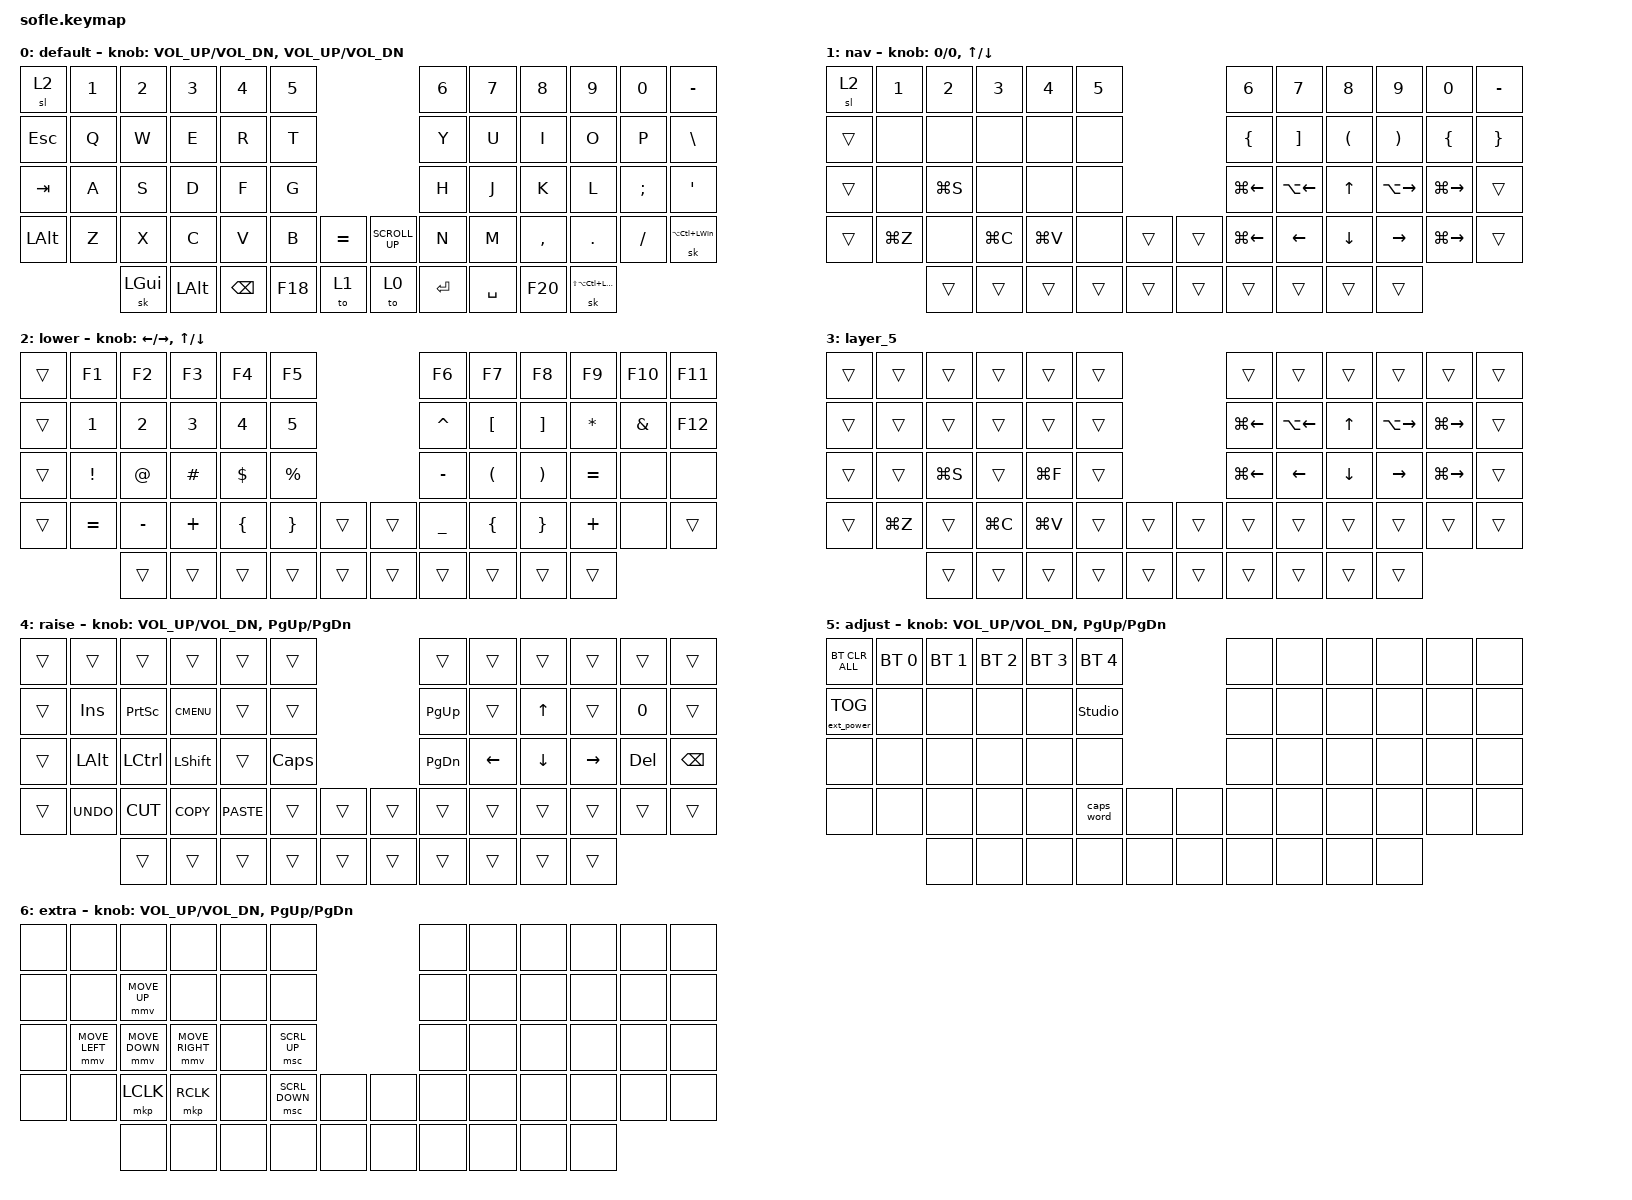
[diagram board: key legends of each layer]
/*
 * Copyright (c) 2020 The ZMK Contributors
 *
 * SPDX-License-Identifier: MIT
 */

#include <behaviors.dtsi>
#include <dt-bindings/zmk/bt.h>
#include <dt-bindings/zmk/ext_power.h>
#include <dt-bindings/zmk/keys.h>
#include <dt-bindings/zmk/pointing.h>

// Encoders

&sensors { triggers-per-rotation = <30>; };

&left_encoder { steps = <60>; };

&right_encoder { steps = <60>; };

#define BASE 0
#define LOWER 1
#define RAISE 2
#define ADJUST 3
#define EXTRA 4

/ {
    // Activate ADJUST layer by pressing raise and lower

    conditional_layers {
        compatible = "zmk,conditional-layers";

        adjust_layer {
            if-layers = <2 5>;
            then-layer = <5>;
        };
    };

    combos {
        compatible = "zmk,combos";

        backspace {
            bindings = <&kp BACKSPACE>;
            key-positions = <32 31>;
        };

        delete {
            bindings = <&kp DELETE>;
            key-positions = <27 33>;
        };

        esc {
            bindings = <&kp ESCAPE>;
            key-positions = <25 41>;
        };
    };

    keymap {
        compatible = "zmk,keymap";

        // swap C_MUTE & EQUAL for encoder on the right

        default_layer {
            display-name = "default";

            // ------------------------------------------------------------------------------------------------------------
            // |   `   |  1  |  2  |  3   |  4   |  5   |                   |  6   |  7    |  8    |  9   |   0   |       |
            // |  ESC  |  Q  |  W  |  E   |  R   |  T   |                   |  Y   |  U    |  I    |  O   |   P   | BKSPC |
            // |  TAB  |  A  |  S  |  D   |  F   |  G   |                   |  H   |  J    |  K    |  L   |   ;   |   '   |
            // | SHIFT |  Z  |  X  |  C   |  V   |  B   |  MUTE  |  |       |  N   |  M    |  ,    |  .   |   /   | SHIFT |
            //               | GUI | ALT  | CTRL | LOWER|  ENTER |  | SPACE | RAISE| CTRL  | ALT   | GUI  |

            bindings = <
&sl 2         &kp N1  &kp N2    &kp N3    &kp N4         &kp N5                                 &kp N6     &kp N7     &kp N8     &kp N9                    &kp N0    &kp MINUS
&kp ESCAPE    &kp Q   &kp W     &kp E     &kp R          &kp T                                  &kp Y      &kp U      &kp I      &kp O                     &kp P     &kp BACKSLASH
&kp TAB       &kp A   &kp S     &kp D     &kp F          &kp G                                  &kp H      &kp J      &kp K      &kp L                     &kp SEMI  &kp SQT
&kp LEFT_ALT  &kp Z   &kp X     &kp C     &kp V          &kp B    &kp EQUAL    &kp K_SCROLL_UP  &kp N      &kp M      &kp COMMA  &kp DOT                   &kp FSLH  &sk LA(LC(LWIN))
                      &sk LGUI  &kp LALT  &kp BACKSPACE  &kp F18  &to 1        &to 0            &kp ENTER  &kp SPACE  &kp F20    &sk LS(LA(LC(LEFT_GUI)))
            >;

            sensor-bindings = <&inc_dec_kp C_VOL_UP C_VOL_DN &inc_dec_kp C_VOL_UP C_VOL_DN>;
        };

        nav {
            bindings = <
&sl 2   &kp NUMBER_1  &kp NUMBER_2  &kp NUMBER_3  &kp NUMBER_4  &kp N5                    &kp NUMBER_6        &kp N7              &kp N8                &kp N9                 &kp N0          &kp MINUS
&trans  &none         &none         &none         &none         &none                     &kp LEFT_BRACE      &kp RIGHT_BRACKET   &kp LEFT_PARENTHESIS  &kp RIGHT_PARENTHESIS  &kp LEFT_BRACE  &kp RIGHT_BRACE
&trans  &none         &kp LG(S)     &none         &none         &none                     &kp LG(LEFT_ARROW)  &kp LA(LEFT_ARROW)  &kp UP_ARROW          &kp LA(RIGHT)          &kp LG(RIGHT)   &trans
&trans  &kp LG(Z)     &none         &kp LG(C)     &kp LG(V)     &none   &trans    &trans  &kp LG(LEFT_ARROW)  &kp LEFT_ARROW      &kp DOWN              &kp RIGHT              &kp LG(RIGHT)   &trans
                      &trans        &trans        &trans        &trans  &trans    &trans  &trans              &trans              &trans                &trans
            >;

            sensor-bindings = <&inc_dec_kp 0 0>, <&inc_dec_kp UP_ARROW DOWN>;
        };

        symbols {
            display-name = "lower";

            // TODO: Some binds are waiting for shifted keycode support.
            // ------------------------------------------------------------------------------------------------------------
            // |       |  F1 |  F2 |  F3  |  F4  |  F5  |                   |  F6  |  F7   |  F8   |  F9  |  F10  |  F11  |
            // |   `   |  1  |  2  |  3   |  4   |  5   |                   |  6   |  7    |  8    |  9   |   0   |  F12  |
            // |       |  !  |  @  |  #   |  $   |  %   |                   |  ^   |  &    |  *    |  (   |   )   |   |   |
            // |       |  =  |  -  |  +   |  {   |  }   |        |  |       |  [   |  ]    |  ;    |  :   |   \   |       |
            //               |     |      |      |      |        |  |       |      |       |       |      |

            bindings = <
&trans  &kp F1     &kp F2     &kp F3    &kp F4    &kp F5                       &kp F6          &kp F7                &kp F8                 &kp F9     &kp F10   &kp F11
&trans  &kp N1     &kp N2     &kp N3    &kp N4    &kp N5                       &kp CARET       &kp LEFT_BRACKET      &kp RIGHT_BRACKET      &kp ASTRK  &kp AMPS  &kp F12
&trans  &kp EXCL   &kp AT     &kp HASH  &kp DLLR  &kp PRCNT                    &kp MINUS       &kp LEFT_PARENTHESIS  &kp RIGHT_PARENTHESIS  &kp EQUAL  &none     &none
&trans  &kp EQUAL  &kp MINUS  &kp PLUS  &kp LBRC  &kp RBRC   &trans    &trans  &kp UNDERSCORE  &kp LEFT_BRACE        &kp RIGHT_BRACE        &kp PLUS   &none     &trans
                   &trans     &trans    &trans    &trans     &trans    &trans  &trans          &trans                &trans                 &trans
            >;

            sensor-bindings =
                <&inc_dec_kp LEFT_ARROW RIGHT_ARROW>,
                <&inc_dec_kp UP_ARROW DOWN_ARROW>;
        };

        layer_5 {
            bindings = <
&trans  &trans     &trans     &trans     &trans     &trans                    &trans              &trans          &trans          &trans         &trans         &trans
&trans  &trans     &trans     &trans     &trans     &trans                    &kp LG(LEFT_ARROW)  &kp LA(LEFT)    &kp UP_ARROW    &kp LA(RIGHT)  &kp LG(RIGHT)  &trans
&trans  &trans     &kp LG(S)  &trans     &kp LG(F)  &trans                    &kp LG(LEFT)        &kp LEFT_ARROW  &kp DOWN_ARROW  &kp RIGHT      &kp LG(RIGHT)  &trans
&trans  &kp LG(Z)  &trans     &kp LG(C)  &kp LG(V)  &trans  &trans    &trans  &trans              &trans          &trans          &trans         &trans         &trans
                   &trans     &trans     &trans     &trans  &trans    &trans  &trans              &trans          &trans          &trans
            >;
        };

        raise_layer {
            display-name = "raise";

            // ------------------------------------------------------------------------------------------------------------
            // | BTCLR | BT1  | BT2  |  BT3  |  BT4  |  BT5 |                |      |      |       |      |       |       |
            // |       | INS  | PSCR | GUI   |       |      |                | PGUP |      |   ^   |      |       |       |
            // |       | ALT  | CTRL | SHIFT |       | CAPS |                | PGDN |   <- |   v   |  ->  |  DEL  | BKSPC |
            // |       | UNDO | CUT  | COPY  | PASTE |      |      |  |      |      |      |       |      |       |       |
            //                |      |       |       |      |      |  |      |      |      |       |      |

            bindings = <
&trans  &trans      &trans     &trans       &trans       &trans                      &trans     &trans    &trans    &trans     &trans   &trans
&trans  &kp INS     &kp PSCRN  &kp K_CMENU  &trans       &trans                      &kp PG_UP  &trans    &kp UP    &trans     &kp N0   &trans
&trans  &kp LALT    &kp LCTRL  &kp LSHFT    &trans       &kp CLCK                    &kp PG_DN  &kp LEFT  &kp DOWN  &kp RIGHT  &kp DEL  &kp BSPC
&trans  &kp K_UNDO  &kp K_CUT  &kp K_COPY   &kp K_PASTE  &trans    &trans    &trans  &trans     &trans    &trans    &trans     &trans   &trans
                    &trans     &trans       &trans       &trans    &trans    &trans  &trans     &trans    &trans    &trans
            >;

            sensor-bindings = <&inc_dec_kp C_VOL_UP C_VOL_DN &inc_dec_kp PG_UP PG_DN>;
        };

        adjust_layer {
            // ----------------------------------------------------------------------------------------------------------------------------
            // | BTCLR  |  BT1    |  BT2    |   BT3   |   BT4   |   BT5   |                  |      |      |       |      |       |       |
            // | EXTPWR | RGB_HUD | RGB_HUI | RGB_SAD | RGB_SAI | RGB_EFF |                  |      |      |       |      |       |       |
            // |        | RGB_BRD | RGB_BRI |         |         |         |                  |      |      |       |      |       |       |
            // |        |         |         |         |         |         | RGB_TOG | |      |      |      |       |      |       |       |
            //                    |         |         |         |         |         | |      |      |      |       |      |

            display-name = "adjust";
            bindings = <
&bt BT_CLR_ALL     &bt BT_SEL 0  &bt BT_SEL 1  &bt BT_SEL 2  &bt BT_SEL 3  &bt BT_SEL 4                    &none  &none  &none  &none  &none  &none
&ext_power EP_TOG  &none         &none         &none         &none         &studio_unlock                  &none  &none  &none  &none  &none  &none
&none              &none         &none         &none         &none         &none                           &none  &none  &none  &none  &none  &none
&none              &none         &none         &none         &none         &caps_word      &none    &none  &none  &none  &none  &none  &none  &none
                                 &none         &none         &none         &none           &none    &none  &none  &none  &none  &none
            >;

            sensor-bindings = <&inc_dec_kp C_VOL_UP C_VOL_DN &inc_dec_kp PG_UP PG_DN>;
        };

        extra_layer {
            // ----------------------------------------------------------------------------------------------------------------------------
            // | BTCLR  |  BT1    |  BT2    |   BT3   |   BT4   |   BT5   |                  |      |      |       |      |       |       |
            // | EXTPWR | RGB_HUD | RGB_HUI | RGB_SAD | RGB_SAI | RGB_EFF |                  |      |      |       |      |       |       |
            // |        | RGB_BRD | RGB_BRI |         |         |         |                  |      |      |       |      |       |       |
            // |        |         |         |         |         |         | RGB_TOG | |      |      |      |       |      |       |       |
            //                    |         |         |         |         |         | |      |      |      |       |      |

            display-name = "extra";
            bindings = <
&none  &none           &none           &none            &none  &none                           &none  &none  &none  &none  &none  &none
&none  &none           &mmv MOVE_UP    &none            &none  &none                           &none  &none  &none  &none  &none  &none
&none  &mmv MOVE_LEFT  &mmv MOVE_DOWN  &mmv MOVE_RIGHT  &none  &msc SCRL_UP                    &none  &none  &none  &none  &none  &none
&none  &none           &mkp LCLK       &mkp RCLK        &none  &msc SCRL_DOWN  &none    &none  &none  &none  &none  &none  &none  &none
                       &none           &none            &none  &none           &none    &none  &none  &none  &none  &none
            >;

            sensor-bindings = <&inc_dec_kp C_VOL_UP C_VOL_DN &inc_dec_kp PG_UP PG_DN>;
        };
    };
};
